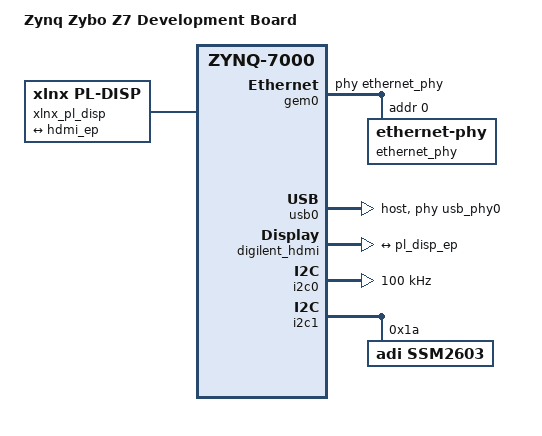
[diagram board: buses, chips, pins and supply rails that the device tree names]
/include/ "system-conf.dtsi"
#include <dt-bindings/gpio/gpio.h>
#include <dt-bindings/media/xilinx-vip.h>

/ {
	model = "Zynq Zybo Z7 Development Board";
	compatible = "digilent,zynq-zyboz7", "xlnx,zynq-7000";

	chosen {
		bootargs = "console=ttyPS0,115200 earlyprintk uio_pdrv_genirq.of_id=generic-uio";
	};

	usb_phy0: usb_phy@0 {
		compatible = "ulpi-phy";
		#phy-cells = <0>;
		reg = <0xe0002000 0x1000>;
		view-port = <0x0170>;
		drv-vbus;
	};
};

&gem0 {
        phy-handle = <&ethernet_phy>;
        ethernet_phy: ethernet-phy@0 {
                device_type = "ethernet-phy";
                reg = <0>;
                /* dt-bindings/phy/realtek.h */
                /* #define REALTEK_LED_LINK10              BIT(0)
                   #define REALTEK_LED_LINK100             BIT(1)
                   #define REALTEK_LED_LINK1000            BIT(3)
                   #define REALTEK_LED_ACT                 BIT(4)
                   #define REALTEK_LED_DEFAULT             BIT(7)
                */
                /* LED0=10+A, LED1=100+A, LED2=1000+A */
                realtek,leds-config = <0x11 0x12 0x18>;
        };
};

&usb0 {	
	dr_mode = "host";
	usb-phy = <&usb_phy0>;
};

&flash0 {
        compatible = "jedec,spi-nor";
        reg = <0x0>;
        spi-tx-bus-width = <1>;
        spi-rx-bus-width = <4>;
        spi-max-frequency = <100000000>;
};

&amba_pl {
	digilent_hdmi {
		compatible = "digilent,hdmi";

		clocks = <&axi_dynclk_0>;
		clock-names = "clk";

		digilent,edid-i2c = <&i2c0>;
		digilent,fmax = <150000>;

		port@0 {
			hdmi_ep: endpoint {
				remote-endpoint = <&pl_disp_ep>;
			};
		};
	};

	xlnx_pl_disp {
		compatible = "xlnx,pl-disp";

		dmas = <&axi_vdma_1 0>;
		dma-names = "dma0";

		/*
		 * See Documentation/devicetree/bindings/dma/xilinx/xilinx_frmbuf.txt
		 * to find the equivalent DRM fourcc code for the format selected in
		 * the Frame Buffer Reader, then see See include/uapi/drm/drm_fourcc.h
		 * to find the corresponding 4-char string that should be placed here.
		 */
		xlnx,vformat = "XR24";
		xlnx,bridge = <&v_tc_out>;

		port@0 {
			pl_disp_ep: endpoint {
				remote-endpoint = <&hdmi_ep>;
			};
		};
	};
};

&v_tc_out {
	compatible = "xlnx,bridge-v-tc-6.1";
	xlnx,pixels-per-clock = <1>;
};

&axi_dynclk_0 {
	compatible = "dglnt,axi-dynclk";
	#clock-cells = <0>;
	clocks = <&clkc 15>;
};

&axi_vdma_1 {
	dma-ranges = <0x00000000 0x00000000 0x40000000>;
};

&v_tc_in {
	compatible = "generic-uio";
};

&axi_vdma_0 {
	compatible = "generic-uio";	
};

&axi_gpio_video {
	compatible = "generic-uio";	
};

&pwm_rgb {
	compatible = "generic-uio";	
};

&amba_pl {
	i2s_clk: i2s_clk {
		#clock-cells = <0>;
		compatible = "fixed-clock";
		clock-frequency = <12000000>;
		clock-output-names = "i2s_clk";
	};

	sound {
		compatible = "simple-audio-card";
		simple-audio-card,name = "Zybo-Z7-Sound-Card";
		simple-audio-card,format = "i2s";
		simple-audio-card,bitclock-master = <&dailink0_master>;
		simple-audio-card,frame-master = <&dailink0_master>;

		simple-audio-card,widgets =
			"Microphone", "Microphone Jack",
			"Headphone", "Headphone Jack",
			"Line", "Line In Jack";

		simple-audio-card,routing =
			"MICIN", "Microphone Jack",
			"Headphone Jack", "LHPOUT",
			"Headphone Jack", "RHPOUT",
			"LLINEIN", "Line In Jack",
			"RLINEIN", "Line In Jack";

		dailink0_master: simple-audio-card,cpu {
			clocks = <&i2s_clk>;
			sound-dai = <&axi_i2s_adi_1>;
		};

		simple-audio-card,codec {
			clocks = <&i2s_clk>;
			sound-dai = <&ssm2603>;
		};
	};
};

&axi_i2s_adi_1 {
	#sound-dai-cells = <0>;
	compatible = "adi,axi-i2s-1.00.a";
	clocks = <&clkc 15>, <&i2s_clk>;
	clock-names = "axi", "ref";
	dmas = <&dmac_s 0 &dmac_s 1>;
	dma-names = "tx", "rx";
};

&i2c0 {
	clock-frequency = <100000>;
	status = "okay";
};

&i2c1 {
	ssm2603: ssm2603@1a{
		#sound-dai-cells = <0>;
		compatible = "adi,ssm2603";
		reg = <0x1a>;
	};
};

&axi_gpio_led {
	compatible = "generic-uio";
};


&axi_gpio_sw_btn {
	compatible = "generic-uio";
};

&axi_gpio_eth {
	clock-names = "s_axi_aclk";
	clocks = <&clkc 15>;
};
